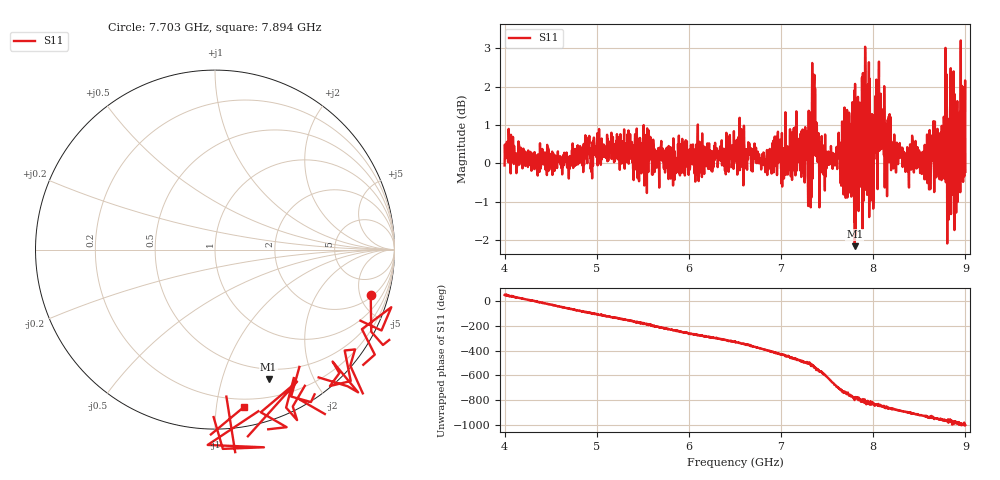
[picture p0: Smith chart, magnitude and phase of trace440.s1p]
! Created with skrf 1.8.0 (http://scikit-rf.org).
# Hz S RI R 50.0
!freq ReS11 ImS11
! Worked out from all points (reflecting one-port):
!   1601 points, 4 GHz to 9 GHz, reference 50 ohm
!   lowest |S11| = -2.2 dB at 7.8 GHz (marker M1), VSWR 8.07, Z = 19.4 - j71.2 ohm
!   phase of S11 starts at 51 deg and turns -1052 deg over the sweep
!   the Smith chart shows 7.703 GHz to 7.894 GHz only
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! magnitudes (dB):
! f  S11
! 4 GHz  -0.1
! 4.625 GHz  -0.3
! 5.25 GHz  -0.2
! 5.875 GHz  -0.1
! 6.5 GHz  0.3
! 7.125 GHz  0.4
! 7.284 GHz  0.8
! 7.306 GHz  0.4
! 7.359 GHz  2.2
! 7.397 GHz  0.0
! 7.438 GHz  -0.2
! 7.75 GHz  -0.8
! 7.8 GHz  -2.2
! 7.881 GHz  1.1
! 7.891 GHz  0.3
! 7.909 GHz  1.2
! 7.928 GHz  -0.3
! 7.944 GHz  2.1
! 7.969 GHz  1.2
! 7.981 GHz  -1.0
! 8.084 GHz  0.4
! 8.375 GHz  0.0
! 8.441 GHz  -0.2
! 8.581 GHz  -0.4
! 8.775 GHz  0.7
! 8.906 GHz  0.6
! 8.972 GHz  0.1
! 9 GHz  -0.2
